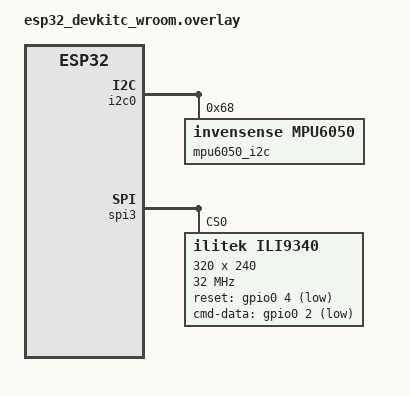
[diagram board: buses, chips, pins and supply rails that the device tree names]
/ {
	aliases {
		accel0 = &mpu6050_i2c;
	};

        chosen {
                zephyr,display = &ili9340;
        };
};

&i2c0 {
	mpu6050_i2c: mpu6050@68 {
		compatible = "invensense,mpu6050";
		reg = <0x68>;
	};
};


&spi3 {
        status = "okay";
        ili9340: ili9340@0 {
		compatible = "ilitek,ili9340";
		reg = <0>;
		spi-max-frequency = <32000000>;
		reset-gpios = <&gpio0 4 GPIO_ACTIVE_LOW>;
		cmd-data-gpios = <&gpio0 2 GPIO_ACTIVE_LOW>;
		rotation = <270>;
		width = <320>;
		height = <240>;
	};
};

